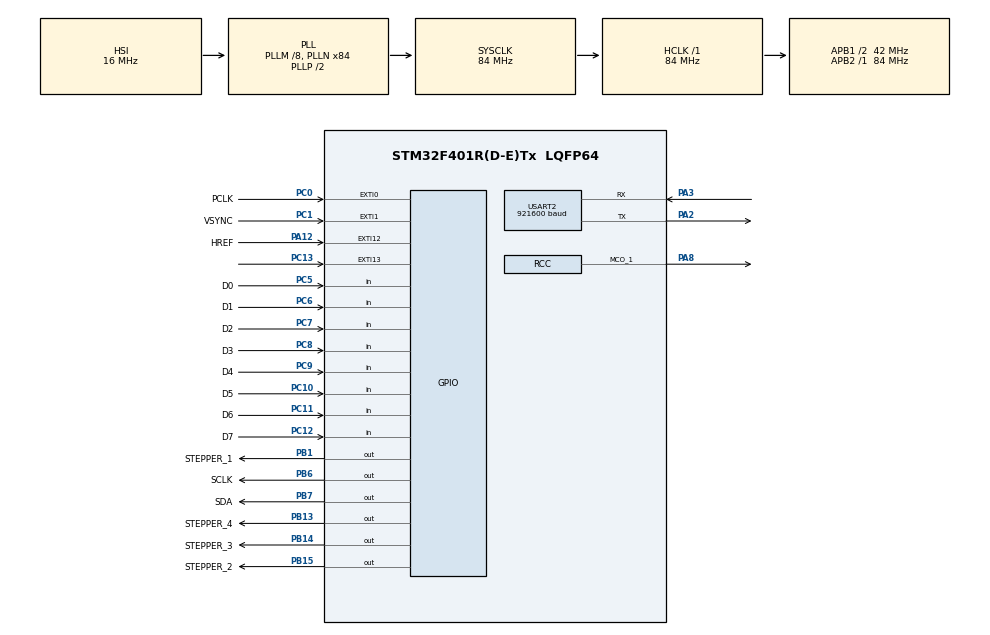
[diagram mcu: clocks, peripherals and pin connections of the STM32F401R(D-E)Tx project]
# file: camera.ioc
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Dma.Request0=USART2_TX
Dma.USART2_TX.0.Direction=DMA_MEMORY_TO_PERIPH
Dma.USART2_TX.0.FIFOMode=DMA_FIFOMODE_DISABLE
Dma.USART2_TX.0.Instance=DMA1_Stream6
Dma.USART2_TX.0.MemDataAlignment=DMA_MDATAALIGN_BYTE
Dma.USART2_TX.0.MemInc=DMA_MINC_ENABLE
Dma.USART2_TX.0.Mode=DMA_NORMAL
Dma.USART2_TX.0.PeriphDataAlignment=DMA_PDATAALIGN_BYTE
Dma.USART2_TX.0.PeriphInc=DMA_PINC_DISABLE
Dma.USART2_TX.0.Priority=DMA_PRIORITY_LOW
FREERTOS.INCLUDE_xEventGroupSetBitFromISR=0
FREERTOS.INCLUDE_xTimerPendFunctionCall=0
FREERTOS.Tasks01=defaultTask,0,128,StartDefaultTask,Default,NULL,Dynamic,NULL,NULL
FREERTOS.configTIMER_TASK_PRIORITY=1
FREERTOS.configTOTAL_HEAP_SIZE=65536
FREERTOS.configUSE_NEWLIB_REENTRANT=1
FREERTOS.configUSE_TIMERS=0
Mcu.Family=STM32F4
Mcu.Name=STM32F401R(D-E)Tx
Mcu.Package=LQFP64
NVIC.DMA1_Stream6_IRQn=true\:5\:0\:false\:false\:true\:true\:false\:true\:true
NVIC.EXTI0_IRQn=true\:5\:0\:false\:true\:false\:2\:true\:true\:true\:false
NVIC.EXTI15_10_IRQn=true\:5\:0\:false\:true\:false\:3\:true\:true\:true\:false
NVIC.EXTI1_IRQn=true\:5\:0\:false\:true\:false\:1\:true\:true\:true\:false
NVIC.PriorityGroup=NVIC_PRIORITYGROUP_4
NVIC.TIM1_UP_TIM10_IRQn=true\:15\:0\:false\:false\:true\:false\:true\:true\:true
NVIC.TimeBase=TIM1_UP_TIM10_IRQn
NVIC.TimeBaseIP=TIM1
NVIC.USART2_IRQn=true\:5\:0\:false\:false\:true\:true\:true\:true\:true
PA12.GPIO_Label=HREF
PA12.GPIO_ModeDefaultEXTI=GPIO_MODE_IT_RISING_FALLING
PA12.GPIO_PuPd=GPIO_NOPULL
PA12.Signal=GPXTI12
PA13.Mode=Serial_Wire
PA13.Signal=SYS_JTMS-SWDIO
PA14.Mode=Serial_Wire
PA14.Signal=SYS_JTCK-SWCLK
PA2.Mode=Asynchronous
PA2.Signal=USART2_TX
PA3.Mode=Asynchronous
PA3.Signal=USART2_RX
PA8.GPIO_Speed=GPIO_SPEED_FREQ_HIGH
PA8.Mode=Clock-out-1
PA8.Signal=RCC_MCO_1
PB1.GPIO_Label=STEPPER_1
PB1.Signal=GPIO_Output
PB13.GPIO_Label=STEPPER_4
PB13.Signal=GPIO_Output
PB14.GPIO_Label=STEPPER_3
PB14.Signal=GPIO_Output
PB15.GPIO_Label=STEPPER_2
PB15.Signal=GPIO_Output
PB6.GPIO_Label=SCLK
PB6.GPIO_ModeDefaultOutputPP=GPIO_MODE_OUTPUT_OD
PB6.GPIO_PuPd=GPIO_PULLUP
PB6.GPIO_Speed=GPIO_SPEED_FREQ_HIGH
PB6.PinState=GPIO_PIN_SET
PB6.Signal=GPIO_Output
PB7.GPIO_Label=SDA
PB7.GPIO_ModeDefaultOutputPP=GPIO_MODE_OUTPUT_OD
PB7.GPIO_PuPd=GPIO_PULLUP
PB7.GPIO_Speed=GPIO_SPEED_FREQ_HIGH
PB7.PinState=GPIO_PIN_SET
PB7.Signal=GPIO_Output
PC0.GPIO_Label=PCLK
PC0.GPIO_ModeDefaultEXTI=GPIO_MODE_IT_RISING
PC0.GPIO_PuPd=GPIO_NOPULL
PC0.Signal=GPXTI0
PC1.GPIO_Label=VSYNC
PC1.GPIO_ModeDefaultEXTI=GPIO_MODE_IT_RISING
PC1.GPIO_PuPd=GPIO_NOPULL
PC1.Signal=GPXTI1
PC10.GPIO_Label=D5
PC10.Signal=GPIO_Input
PC11.GPIO_Label=D6
PC11.Signal=GPIO_Input
PC12.GPIO_Label=D7
PC12.Signal=GPIO_Input
PC13-ANTI_TAMP.GPIO_ModeDefaultEXTI=GPIO_MODE_IT_FALLING
PC13-ANTI_TAMP.GPIO_PuPd=GPIO_PULLUP
PC13-ANTI_TAMP.Signal=GPXTI13
PC5.GPIO_Label=D0
PC5.Signal=GPIO_Input
PC6.GPIO_Label=D1
PC6.Signal=GPIO_Input
PC7.GPIO_Label=D2
PC7.Signal=GPIO_Input
PC8.GPIO_Label=D3
PC8.Signal=GPIO_Input
PC9.GPIO_Label=D4
PC9.Signal=GPIO_Input
ProjectManager.HeapSize=0x200
ProjectManager.StackSize=0x400
ProjectManager.TargetToolchain=STM32CubeIDE
RCC.48MHZClocksFreq_Value=42000000
RCC.AHBFreq_Value=84000000
RCC.APB1CLKDivider=RCC_HCLK_DIV2
RCC.APB1Freq_Value=42000000
RCC.APB1TimFreq_Value=84000000
RCC.APB2Freq_Value=84000000
RCC.APB2TimFreq_Value=84000000
RCC.CortexFreq_Value=84000000
RCC.HCLKFreq_Value=84000000
RCC.HSE_VALUE=25000000
RCC.HSI_VALUE=16000000
RCC.LSE_VALUE=32768
RCC.PLLM=8
RCC.PLLN=84
RCC.SYSCLKFreq_VALUE=84000000
RCC.SYSCLKSource=RCC_SYSCLKSOURCE_PLLCLK
RCC.VCOOutputFreq_Value=168000000
TIM2.AutoReloadPreload=TIM_AUTORELOAD_PRELOAD_DISABLE
TIM2.Prescaler=83
USART2.BaudRate=921600
USART2.VirtualMode=VM_ASYNC
VP_FREERTOS_VS_CMSIS_V1.Mode=CMSIS_V1
VP_SYS_VS_tim1.Mode=TIM1
VP_TIM2_VS_ClockSourceINT.Mode=Internal
board=custom

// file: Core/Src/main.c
/* USER CODE BEGIN Header */
/**
  ******************************************************************************
  * @file           : main.c
  * @brief          : Main program body
  ******************************************************************************
  * @attention
  *
  * Copyright (c) 2022 STMicroelectronics.
  * All rights reserved.
  *
  * This software is licensed under terms that can be found in the LICENSE file
  * in the root directory of this software component.
  * If no LICENSE file comes with this software, it is provided AS-IS.
  *
  ******************************************************************************
  */
/* USER CODE END Header */
#include "main.h"
#include "cmsis_os.h"

TIM_HandleTypeDef htim2;

UART_HandleTypeDef huart2;
DMA_HandleTypeDef hdma_usart2_tx;

osThreadId defaultTaskHandle;

void SystemClock_Config(void);
static void MX_GPIO_Init(void);
static void MX_DMA_Init(void);
static void MX_USART2_UART_Init(void);
static void MX_TIM2_Init(void);
void StartDefaultTask(void const * argument);

static void MX_NVIC_Init(void);
/* USER CODE BEGIN PFP */
uint32_t g_last_time;
uint16_t g_vel = 50;
uint8_t g_flag = 0;
TaskHandle_t xHandle;

/* USER CODE END PFP */

/* USER CODE BEGIN 0 */

#ifdef mainDEBUG
/*
 * 	@brief 	Prints error msg to stdout, when semihosting is defined.
 * 	@param	pcErrorString, string to be printed through semihosting. The function
 * 			already adds format to the output, so no "\n" is required.
 */
void vDebugErrorRoutine(const char * pcErrorString) {
	printf("> Error. %s\n", pcErrorString);
}

void vDebugSuccessRoutine(const char * pcSuccessString) {
	printf("> Success. %s\n", pcSuccessString);
}
#endif

/* USER CODE END 0 */

int main(void)
{
  /* USER CODE BEGIN 1 */
#ifdef mainDEBUG
	initialise_monitor_handles();
#endif

  /* USER CODE END 1 */

  /* MCU Configuration--------------------------------------------------------*/

  /* Reset of all peripherals, Initializes the Flash interface and the Systick. */
  HAL_Init();

  /* Configure the system clock */
  SystemClock_Config();

  /* Initialize all configured peripherals */
  MX_GPIO_Init();
  MX_DMA_Init();
  MX_USART2_UART_Init();
  MX_TIM2_Init();

  /* Initialize interrupts */
  MX_NVIC_Init();
  /* USER CODE BEGIN 2 */
  vCameraInit();
  vStepperInit();

  /* USER CODE END 2 */

  /* Create the thread(s) */
  /* definition and creation of defaultTask */
  osThreadDef(defaultTask, StartDefaultTask, osPriorityNormal, 0, 128);
  defaultTaskHandle = osThreadCreate(osThread(defaultTask), NULL);

  /* Start scheduler */
  osKernelStart();

  /* We should never get here as control is now taken by the scheduler */
  /* Infinite loop */
  while (1) {

  }
}

void SystemClock_Config(void)
{
  RCC_OscInitTypeDef RCC_OscInitStruct = {0};
  RCC_ClkInitTypeDef RCC_ClkInitStruct = {0};

  /** Configure the main internal regulator output voltage
  */
  __HAL_RCC_PWR_CLK_ENABLE();
  __HAL_PWR_VOLTAGESCALING_CONFIG(PWR_REGULATOR_VOLTAGE_SCALE2);

  /** Initializes the RCC Oscillators according to the specified parameters
  * in the RCC_OscInitTypeDef structure.
  */
  RCC_OscInitStruct.OscillatorType = RCC_OSCILLATORTYPE_HSI;
  RCC_OscInitStruct.HSIState = RCC_HSI_ON;
  RCC_OscInitStruct.HSICalibrationValue = RCC_HSICALIBRATION_DEFAULT;
  RCC_OscInitStruct.PLL.PLLState = RCC_PLL_ON;
  RCC_OscInitStruct.PLL.PLLSource = RCC_PLLSOURCE_HSI;
  RCC_OscInitStruct.PLL.PLLM = 8;
  RCC_OscInitStruct.PLL.PLLN = 84;
  RCC_OscInitStruct.PLL.PLLP = RCC_PLLP_DIV2;
  RCC_OscInitStruct.PLL.PLLQ = 4;
  if (HAL_RCC_OscConfig(&RCC_OscInitStruct) != HAL_OK)
  {
    Error_Handler();
  }

  /** Initializes the CPU, AHB and APB buses clocks
  */
  RCC_ClkInitStruct.ClockType = RCC_CLOCKTYPE_HCLK|RCC_CLOCKTYPE_SYSCLK
                              |RCC_CLOCKTYPE_PCLK1|RCC_CLOCKTYPE_PCLK2;
  RCC_ClkInitStruct.SYSCLKSource = RCC_SYSCLKSOURCE_PLLCLK;
  RCC_ClkInitStruct.AHBCLKDivider = RCC_SYSCLK_DIV1;
  RCC_ClkInitStruct.APB1CLKDivider = RCC_HCLK_DIV2;
  RCC_ClkInitStruct.APB2CLKDivider = RCC_HCLK_DIV1;

  if (HAL_RCC_ClockConfig(&RCC_ClkInitStruct, FLASH_LATENCY_2) != HAL_OK)
  {
    Error_Handler();
  }
  HAL_RCC_MCOConfig(RCC_MCO1, RCC_MCO1SOURCE_HSI, RCC_MCODIV_1);
}

/**
  * @brief NVIC Configuration.
  * @retval None
  */
static void MX_NVIC_Init(void)
{
  /* EXTI1_IRQn interrupt configuration */
  HAL_NVIC_SetPriority(EXTI1_IRQn, 5, 0);
  /* EXTI0_IRQn interrupt configuration */
  HAL_NVIC_SetPriority(EXTI0_IRQn, 5, 0);
  /* EXTI15_10_IRQn interrupt configuration */
  HAL_NVIC_SetPriority(EXTI15_10_IRQn, 5, 0);
}

static void MX_TIM2_Init(void)
{

  TIM_ClockConfigTypeDef sClockSourceConfig = {0};
  TIM_MasterConfigTypeDef sMasterConfig = {0};

  htim2.Instance = TIM2;
  htim2.Init.Prescaler = 83;
  htim2.Init.CounterMode = TIM_COUNTERMODE_UP;
  htim2.Init.Period = 4294967295;
  htim2.Init.ClockDivision = TIM_CLOCKDIVISION_DIV1;
  htim2.Init.AutoReloadPreload = TIM_AUTORELOAD_PRELOAD_DISABLE;
  if (HAL_TIM_Base_Init(&htim2) != HAL_OK)
  {
    Error_Handler();
  }
  sClockSourceConfig.ClockSource = TIM_CLOCKSOURCE_INTERNAL;
  if (HAL_TIM_ConfigClockSource(&htim2, &sClockSourceConfig) != HAL_OK)
  {
    Error_Handler();
  }
  sMasterConfig.MasterOutputTrigger = TIM_TRGO_RESET;
  sMasterConfig.MasterSlaveMode = TIM_MASTERSLAVEMODE_DISABLE;
  if (HAL_TIMEx_MasterConfigSynchronization(&htim2, &sMasterConfig) != HAL_OK)
  {
    Error_Handler();
  }
  /* USER CODE BEGIN TIM2_Init 2 */
  HAL_TIM_Base_Start(&htim2);

  /* USER CODE END TIM2_Init 2 */

}

static void MX_USART2_UART_Init(void)
{

  huart2.Instance = USART2;
  huart2.Init.BaudRate = 921600;
  huart2.Init.WordLength = UART_WORDLENGTH_8B;
  huart2.Init.StopBits = UART_STOPBITS_1;
  huart2.Init.Parity = UART_PARITY_NONE;
  huart2.Init.Mode = UART_MODE_TX_RX;
  huart2.Init.HwFlowCtl = UART_HWCONTROL_NONE;
  huart2.Init.OverSampling = UART_OVERSAMPLING_16;
  if (HAL_UART_Init(&huart2) != HAL_OK)
  {
    Error_Handler();
  }

}

static void MX_DMA_Init(void)
{

  /* DMA controller clock enable */
  __HAL_RCC_DMA1_CLK_ENABLE();

  /* DMA interrupt init */
  /* DMA1_Stream6_IRQn interrupt configuration */
  HAL_NVIC_SetPriority(DMA1_Stream6_IRQn, 5, 0);
  HAL_NVIC_EnableIRQ(DMA1_Stream6_IRQn);

}

static void MX_GPIO_Init(void)
{
  GPIO_InitTypeDef GPIO_InitStruct = {0};

  /* GPIO Ports Clock Enable */
  __HAL_RCC_GPIOC_CLK_ENABLE();
  __HAL_RCC_GPIOA_CLK_ENABLE();
  __HAL_RCC_GPIOB_CLK_ENABLE();

  /*Configure GPIO pin Output Level */
  HAL_GPIO_WritePin(GPIOB, STEPPER_1_Pin|STEPPER_4_Pin|STEPPER_3_Pin|STEPPER_2_Pin, GPIO_PIN_RESET);

  /*Configure GPIO pin Output Level */
  HAL_GPIO_WritePin(GPIOB, SCLK_Pin|SDA_Pin, GPIO_PIN_SET);

  /*Configure GPIO pin : PC13 */
  GPIO_InitStruct.Pin = GPIO_PIN_13;
  GPIO_InitStruct.Mode = GPIO_MODE_IT_FALLING;
  GPIO_InitStruct.Pull = GPIO_PULLUP;
  HAL_GPIO_Init(GPIOC, &GPIO_InitStruct);

  /*Configure GPIO pins : PCLK_Pin VSYNC_Pin */
  GPIO_InitStruct.Pin = PCLK_Pin|VSYNC_Pin;
  GPIO_InitStruct.Mode = GPIO_MODE_IT_RISING;
  GPIO_InitStruct.Pull = GPIO_NOPULL;
  HAL_GPIO_Init(GPIOC, &GPIO_InitStruct);

  /*Configure GPIO pins : D0_Pin D1_Pin D2_Pin D3_Pin
                           D4_Pin D5_Pin D6_Pin D7_Pin */
  GPIO_InitStruct.Pin = D0_Pin|D1_Pin|D2_Pin|D3_Pin
                          |D4_Pin|D5_Pin|D6_Pin|D7_Pin;
  GPIO_InitStruct.Mode = GPIO_MODE_INPUT;
  GPIO_InitStruct.Pull = GPIO_NOPULL;
  HAL_GPIO_Init(GPIOC, &GPIO_InitStruct);

  /*Configure GPIO pins : STEPPER_1_Pin STEPPER_4_Pin STEPPER_3_Pin STEPPER_2_Pin */
  GPIO_InitStruct.Pin = STEPPER_1_Pin|STEPPER_4_Pin|STEPPER_3_Pin|STEPPER_2_Pin;
  GPIO_InitStruct.Mode = GPIO_MODE_OUTPUT_PP;
  GPIO_InitStruct.Pull = GPIO_NOPULL;
  GPIO_InitStruct.Speed = GPIO_SPEED_FREQ_LOW;
  HAL_GPIO_Init(GPIOB, &GPIO_InitStruct);

  /*Configure GPIO pin : PA8 */
  GPIO_InitStruct.Pin = GPIO_PIN_8;
  GPIO_InitStruct.Mode = GPIO_MODE_AF_PP;
  GPIO_InitStruct.Pull = GPIO_NOPULL;
  GPIO_InitStruct.Speed = GPIO_SPEED_FREQ_HIGH;
  GPIO_InitStruct.Alternate = GPIO_AF0_MCO;
  HAL_GPIO_Init(GPIOA, &GPIO_InitStruct);

  /*Configure GPIO pin : HREF_Pin */
  GPIO_InitStruct.Pin = HREF_Pin;
  GPIO_InitStruct.Mode = GPIO_MODE_IT_RISING_FALLING;
  GPIO_InitStruct.Pull = GPIO_NOPULL;
  HAL_GPIO_Init(HREF_GPIO_Port, &GPIO_InitStruct);

  /*Configure GPIO pins : SCLK_Pin SDA_Pin */
  GPIO_InitStruct.Pin = SCLK_Pin|SDA_Pin;
  GPIO_InitStruct.Mode = GPIO_MODE_OUTPUT_OD;
  GPIO_InitStruct.Pull = GPIO_PULLUP;
  GPIO_InitStruct.Speed = GPIO_SPEED_FREQ_HIGH;
  HAL_GPIO_Init(GPIOB, &GPIO_InitStruct);

}

void StartDefaultTask(void const * argument)
{
  /* USER CODE BEGIN 5 */
  vTaskSuspend(NULL);
  /* Infinite loop */
  for(;;)
  {
    osDelay(1);
  }
  /* USER CODE END 5 */
}

void HAL_TIM_PeriodElapsedCallback(TIM_HandleTypeDef *htim)
{
  if (htim->Instance == TIM1) {
    HAL_IncTick();
  }
}

void Error_Handler(void)
{
  __disable_irq();
  while (1)
  {
  }
}
